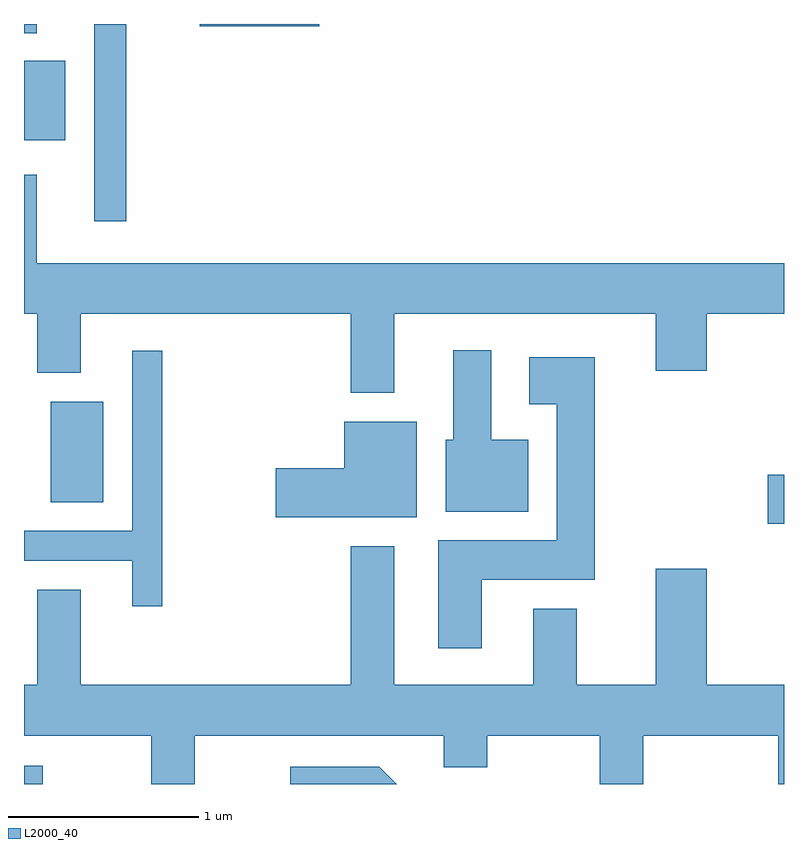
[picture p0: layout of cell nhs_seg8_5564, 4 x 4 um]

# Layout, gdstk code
import gdstk
lib = gdstk.Library(unit=1e-6, precision=1e-09)
def R(c, l, rs):  # rectangles x0, y0, x1, y1
    for r in rs: c.add(gdstk.rectangle(r[:2], r[2:], *l))
def P(c, l, *ps):  # polygons
    for p in ps: c.add(gdstk.Polygon(p, *l))
L2000_40 = (2000, 40)

nhs_seg8_5564 = lib.new_cell('nhs_seg8_5564')
R(nhs_seg8_5564, L2000_40, [(351.611,1878.342,351.709,1878.439), (355.526,1879.711,355.611,1879.969), (351.751,1879.826,352.029,1880.354), (351.981,1881.303,352.149,1882.342), (351.611,1881.731,351.829,1882.149), (351.611,1882.293,351.679,1882.342), (352.536,1882.331,353.164,1882.342)])
P(nhs_seg8_5564, L2000_40, [(353.559,1880.816),(354.936,1880.816),(354.936,1880.516),(355.204,1880.516),(355.204,1880.816),(355.611,1880.816),(355.611,1881.084),(351.679,1881.084),(351.679,1881.548),(351.611,1881.548),(351.611,1880.816),(351.681,1880.816),(351.681,1880.506),(351.909,1880.506),(351.909,1880.816),(353.331,1880.816),(353.331,1880.401),(353.559,1880.401)],
  [(354.264,1880.154),(354.069,1880.154),(354.069,1880.624),(353.871,1880.624),(353.871,1880.154),(353.831,1880.154),(353.831,1879.776),(354.264,1879.776)],
  [(352.339,1880.623),(352.181,1880.623),(352.181,1879.674),(351.611,1879.674),(351.611,1879.516),(352.181,1879.516),(352.181,1879.278),(352.339,1879.278)],
  [(354.019,1879.416),(354.614,1879.416),(354.614,1880.589),(354.271,1880.589),(354.271,1880.341),(354.416,1880.341),(354.416,1879.624),(353.791,1879.624),(353.791,1879.056),(354.019,1879.056)],
  [(353.679,1880.249),(353.296,1880.249),(353.296,1880.004),(352.936,1880.004),(352.936,1879.746),(353.679,1879.746)],
  [(352.509,1878.596),(353.821,1878.596),(353.821,1878.431),(354.049,1878.431),(354.049,1878.596),(354.641,1878.596),(354.641,1878.342),(354.869,1878.342),(354.869,1878.596),(355.581,1878.596),(355.581,1878.342),(355.611,1878.342),(355.611,1878.864),(355.204,1878.864),(355.204,1879.474),(354.936,1879.474),(354.936,1878.864),(354.519,1878.864),(354.519,1879.264),(354.291,1879.264),(354.291,1878.864),(353.559,1878.864),(353.559,1879.594),(353.331,1879.594),(353.331,1878.864),(351.909,1878.864),(351.909,1879.364),(351.681,1879.364),(351.681,1878.864),(351.611,1878.864),(351.611,1878.596),(352.281,1878.596),(352.281,1878.342),(352.509,1878.342)],
  [(353.482,1878.434),(353.013,1878.434),(353.013,1878.342),(353.574,1878.342)])

lib.write_gds('nhs_seg8_5564.gds')
